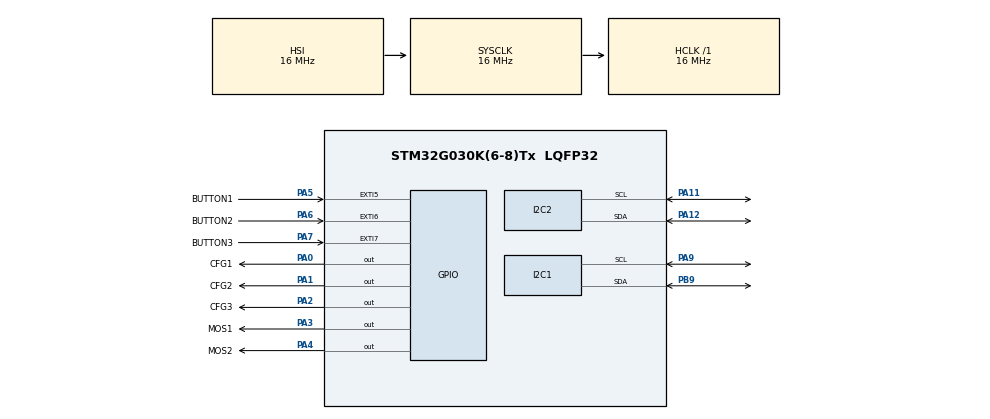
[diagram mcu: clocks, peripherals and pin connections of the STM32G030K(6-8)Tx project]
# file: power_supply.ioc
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I2C1.Timing=0x00503D58
I2C2.Timing=0x00503D58
Mcu.Family=STM32G0
Mcu.Name=STM32G030K(6-8)Tx
Mcu.Package=LQFP32
NVIC.EXTI4_15_IRQn=true\:0\:0\:false\:false\:true\:true\:true\:true
PA0.GPIO_Label=CFG1
PA0.GPIO_PuPd=GPIO_PULLUP
PA0.Signal=GPIO_Output
PA1.GPIO_Label=CFG2
PA1.GPIO_PuPd=GPIO_PULLUP
PA1.Signal=GPIO_Output
PA11\ [PA9].Mode=I2C
PA11\ [PA9].Signal=I2C2_SCL
PA12\ [PA10].Mode=I2C
PA12\ [PA10].Signal=I2C2_SDA
PA13.Mode=Serial_Wire
PA13.Signal=SYS_SWDIO
PA14-BOOT0.Mode=Serial_Wire
PA14-BOOT0.Signal=SYS_SWCLK
PA2.GPIO_Label=CFG3
PA2.GPIO_PuPd=GPIO_PULLUP
PA2.Signal=GPIO_Output
PA3.GPIO_Label=MOS1
PA3.Signal=GPIO_Output
PA4.GPIO_Label=MOS2
PA4.Signal=GPIO_Output
PA5.GPIO_Label=BUTTON1
PA5.Signal=GPXTI5
PA6.GPIO_Label=BUTTON2
PA6.Signal=GPXTI6
PA7.GPIO_Label=BUTTON3
PA7.Signal=GPXTI7
PA9.Mode=I2C
PA9.Signal=I2C1_SCL
PB9.Mode=I2C
PB9.Signal=I2C1_SDA
ProjectManager.HeapSize=0x200
ProjectManager.StackSize=0x400
ProjectManager.TargetToolchain=STM32CubeIDE
RCC.AHBFreq_Value=16000000
RCC.CortexFreq_Value=16000000
RCC.EXTERNAL_CLOCK_VALUE=12288000
RCC.HCLKFreq_Value=16000000
RCC.HSE_VALUE=8000000
RCC.HSI_VALUE=16000000
RCC.LSE_VALUE=32768
RCC.SYSCLKFreq_VALUE=16000000
RCC.VCOOutputFreq_Value=128000000
board=custom

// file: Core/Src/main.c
/* USER CODE BEGIN Header */
/**
  ******************************************************************************
  * @file           : main.c
  * @brief          : Main program body
  ******************************************************************************
  * @attention
  *
  * Copyright (c) 2025 STMicroelectronics.
  * All rights reserved.
  *
  * This software is licensed under terms that can be found in the LICENSE file
  * in the root directory of this software component.
  * If no LICENSE file comes with this software, it is provided AS-IS.
  *
  ******************************************************************************
  */
/* USER CODE END Header */
#include "main.h"

/* USER CODE BEGIN Includes */
#include "oled.h"
/* USER CODE END Includes */

I2C_HandleTypeDef hi2c1;
I2C_HandleTypeDef hi2c2;

/* USER CODE BEGIN PV */
volatile mode_type Mode = Mode1;
volatile voltage_level Voltage = Five;
volatile config_pins_state cfg;

/* USER CODE END PV */

void SystemClock_Config(void);
static void MX_GPIO_Init(void);
static void MX_I2C1_Init(void);
static void MX_I2C2_Init(void);
/* USER CODE BEGIN PFP */

static void set_load_mosfet(uint8_t val);
static void set_buck_mosfet(uint8_t val);
static void toggle_mode(void);
static void toggle_voltage_level(void);
static void set_decoy_voltage(config_pins_state* conf);
/* USER CODE END PFP */

int main(void)
{

  /* MCU Configuration--------------------------------------------------------*/

  /* Reset of all peripherals, Initializes the Flash interface and the Systick. */
  HAL_Init();

  /* Configure the system clock */
  SystemClock_Config();

  /* Initialize all configured peripherals */
  MX_GPIO_Init();
  MX_I2C1_Init();
  MX_I2C2_Init();
  /* USER CODE BEGIN 2 */
  SSD1306_Init();
  SSD1306_Print(0, 0, "Hello");
  SSD1306_Update();
  /* USER CODE END 2 */

  /* Infinite loop */
  while (1)
  {

  }
}

void SystemClock_Config(void)
{
  RCC_OscInitTypeDef RCC_OscInitStruct = {0};
  RCC_ClkInitTypeDef RCC_ClkInitStruct = {0};

  /** Configure the main internal regulator output voltage
  */
  HAL_PWREx_ControlVoltageScaling(PWR_REGULATOR_VOLTAGE_SCALE1);

  /** Initializes the RCC Oscillators according to the specified parameters
  * in the RCC_OscInitTypeDef structure.
  */
  RCC_OscInitStruct.OscillatorType = RCC_OSCILLATORTYPE_HSI;
  RCC_OscInitStruct.HSIState = RCC_HSI_ON;
  RCC_OscInitStruct.HSIDiv = RCC_HSI_DIV1;
  RCC_OscInitStruct.HSICalibrationValue = RCC_HSICALIBRATION_DEFAULT;
  RCC_OscInitStruct.PLL.PLLState = RCC_PLL_NONE;
  if (HAL_RCC_OscConfig(&RCC_OscInitStruct) != HAL_OK)
  {
    Error_Handler();
  }

  /** Initializes the CPU, AHB and APB buses clocks
  */
  RCC_ClkInitStruct.ClockType = RCC_CLOCKTYPE_HCLK|RCC_CLOCKTYPE_SYSCLK
                              |RCC_CLOCKTYPE_PCLK1;
  RCC_ClkInitStruct.SYSCLKSource = RCC_SYSCLKSOURCE_HSI;
  RCC_ClkInitStruct.AHBCLKDivider = RCC_SYSCLK_DIV1;
  RCC_ClkInitStruct.APB1CLKDivider = RCC_HCLK_DIV1;

  if (HAL_RCC_ClockConfig(&RCC_ClkInitStruct, FLASH_LATENCY_0) != HAL_OK)
  {
    Error_Handler();
  }
}

static void MX_I2C1_Init(void)
{

  hi2c1.Instance = I2C1;
  hi2c1.Init.Timing = 0x00503D58;
  hi2c1.Init.OwnAddress1 = 0;
  hi2c1.Init.AddressingMode = I2C_ADDRESSINGMODE_7BIT;
  hi2c1.Init.DualAddressMode = I2C_DUALADDRESS_DISABLE;
  hi2c1.Init.OwnAddress2 = 0;
  hi2c1.Init.OwnAddress2Masks = I2C_OA2_NOMASK;
  hi2c1.Init.GeneralCallMode = I2C_GENERALCALL_DISABLE;
  hi2c1.Init.NoStretchMode = I2C_NOSTRETCH_DISABLE;
  if (HAL_I2C_Init(&hi2c1) != HAL_OK)
  {
    Error_Handler();
  }

  /** Configure Analogue filter
  */
  if (HAL_I2CEx_ConfigAnalogFilter(&hi2c1, I2C_ANALOGFILTER_ENABLE) != HAL_OK)
  {
    Error_Handler();
  }

  /** Configure Digital filter
  */
  if (HAL_I2CEx_ConfigDigitalFilter(&hi2c1, 0) != HAL_OK)
  {
    Error_Handler();
  }

}

static void MX_I2C2_Init(void)
{

  hi2c2.Instance = I2C2;
  hi2c2.Init.Timing = 0x00503D58;
  hi2c2.Init.OwnAddress1 = 0;
  hi2c2.Init.AddressingMode = I2C_ADDRESSINGMODE_7BIT;
  hi2c2.Init.DualAddressMode = I2C_DUALADDRESS_DISABLE;
  hi2c2.Init.OwnAddress2 = 0;
  hi2c2.Init.OwnAddress2Masks = I2C_OA2_NOMASK;
  hi2c2.Init.GeneralCallMode = I2C_GENERALCALL_DISABLE;
  hi2c2.Init.NoStretchMode = I2C_NOSTRETCH_DISABLE;
  if (HAL_I2C_Init(&hi2c2) != HAL_OK)
  {
    Error_Handler();
  }

  /** Configure Analogue filter
  */
  if (HAL_I2CEx_ConfigAnalogFilter(&hi2c2, I2C_ANALOGFILTER_ENABLE) != HAL_OK)
  {
    Error_Handler();
  }

  /** Configure Digital filter
  */
  if (HAL_I2CEx_ConfigDigitalFilter(&hi2c2, 0) != HAL_OK)
  {
    Error_Handler();
  }

}

static void MX_GPIO_Init(void)
{
  GPIO_InitTypeDef GPIO_InitStruct = {0};

  /* GPIO Ports Clock Enable */
  __HAL_RCC_GPIOB_CLK_ENABLE();
  __HAL_RCC_GPIOA_CLK_ENABLE();

  /*Configure GPIO pin Output Level */
  HAL_GPIO_WritePin(GPIOA, CFG1_Pin|CFG2_Pin|CFG3_Pin|MOS1_Pin
                          |MOS2_Pin, GPIO_PIN_RESET);

  /*Configure GPIO pins : CFG1_Pin CFG2_Pin CFG3_Pin */
  GPIO_InitStruct.Pin = CFG1_Pin|CFG2_Pin|CFG3_Pin;
  GPIO_InitStruct.Mode = GPIO_MODE_OUTPUT_PP;
  GPIO_InitStruct.Pull = GPIO_PULLUP;
  GPIO_InitStruct.Speed = GPIO_SPEED_FREQ_LOW;
  HAL_GPIO_Init(GPIOA, &GPIO_InitStruct);

  /*Configure GPIO pins : MOS1_Pin MOS2_Pin */
  GPIO_InitStruct.Pin = MOS1_Pin|MOS2_Pin;
  GPIO_InitStruct.Mode = GPIO_MODE_OUTPUT_PP;
  GPIO_InitStruct.Pull = GPIO_NOPULL;
  GPIO_InitStruct.Speed = GPIO_SPEED_FREQ_LOW;
  HAL_GPIO_Init(GPIOA, &GPIO_InitStruct);

  /*Configure GPIO pins : BUTTON1_Pin BUTTON2_Pin BUTTON3_Pin */
  GPIO_InitStruct.Pin = BUTTON1_Pin|BUTTON2_Pin|BUTTON3_Pin;
  GPIO_InitStruct.Mode = GPIO_MODE_IT_RISING;
  GPIO_InitStruct.Pull = GPIO_NOPULL;
  HAL_GPIO_Init(GPIOA, &GPIO_InitStruct);

  /* EXTI interrupt init*/
  HAL_NVIC_SetPriority(EXTI4_15_IRQn, 0, 0);
  HAL_NVIC_EnableIRQ(EXTI4_15_IRQn);

}

/* USER CODE BEGIN 4 */
void HAL_GPIO_EXTI_Rising_Callback(uint16_t GPIO_Pin)
{
	if(GPIO_Pin == BUTTON1_Pin)
	{
		// Button1 is for selecting the mode
		//1. Switch off both mosfet

		set_load_mosfet(OFF);
		set_buck_mosfet(OFF);

		//2. Toggle the mode
		toggle_mode();

	}
	else if(GPIO_Pin == BUTTON2_Pin)

	{
		// Button 2 is for selecting the voltage level
		// Change the Voltage level

		//1. Switch off both mosfet
		set_load_mosfet(OFF);
		set_buck_mosfet(OFF);

		//2. Toggle the voltage levels
		toggle_voltage_level();
	}

	else
	{
		// Button 3 is for turning on or off the output/ load voltage
		// Make Load Voltage on or off
		if(Mode == Mode2)
		{
			set_load_mosfet(OFF);
			set_buck_mosfet(ON);
		}
		else
		{
			set_buck_mosfet(OFF);
			set_load_mosfet(ON);
		}

	}
}

static void set_load_mosfet(uint8_t val)
{
	if(val == ON)
	{
		HAL_GPIO_WritePin(MOS1_GPIO_Port, MOS1_Pin, GPIO_PIN_SET);

	}
	else
	{
		HAL_GPIO_WritePin(MOS1_GPIO_Port, MOS1_Pin, GPIO_PIN_RESET);
	}
}

static void set_buck_mosfet(uint8_t val)
{
	if(val == ON)
	{
		HAL_GPIO_WritePin(MOS2_GPIO_Port, MOS2_Pin, GPIO_PIN_SET);

	}
	else
	{
		HAL_GPIO_WritePin(MOS2_GPIO_Port, MOS2_Pin, GPIO_PIN_RESET);
	}
}
static void toggle_mode(void)
{
	if(Mode == Mode1)
	{
		Mode = Mode2;
	}
	else
	{
		Mode == Mode1;
	}
}

static void toggle_voltage_level(void)
{
	switch(Voltage)
	{
	case Five:
		Voltage = Nine;
		cfg.cfg1 = CFGRESET;
		cfg.cfg2 = CFGRESET;
		cfg.cfg3 = CFGRESET;
		break;

	case Nine:
		Voltage = Twelve;
		cfg.cfg1 = CFGRESET;
		cfg.cfg2 = CFGRESET;
		cfg.cfg3 = CFGSET;
		break;

	case Twelve:
		Voltage = Fifteen;
		cfg.cfg1 = CFGRESET;
		cfg.cfg2 = CFGSET;
		cfg.cfg3 = CFGSET;
		break;

	case Fifteen:
		Voltage = Twenty;
		cfg.cfg1 = CFGRESET;
		cfg.cfg2 = CFGSET;
		cfg.cfg3 = CFGRESET;
		break;

	case Twenty:
		Voltage = Five;
		cfg.cfg1 = CFGSET;
		cfg.cfg2 = CFGSET;
		cfg.cfg3 = CFGSET;
		break;
	}
	set_decoy_voltage(&cfg);

}

static void set_decoy_voltage(config_pins_state *conf)
{
	HAL_GPIO_WritePin(CFG1_GPIO_Port, CFG1_Pin, (conf->cfg1));
	HAL_GPIO_WritePin(CFG2_GPIO_Port, CFG2_Pin, (conf->cfg2));
	HAL_GPIO_WritePin(CFG3_GPIO_Port, CFG3_Pin, (conf->cfg3));
}

/* USER CODE END 4 */

void Error_Handler(void)
{
  __disable_irq();
  while (1)
  {
  }
}
